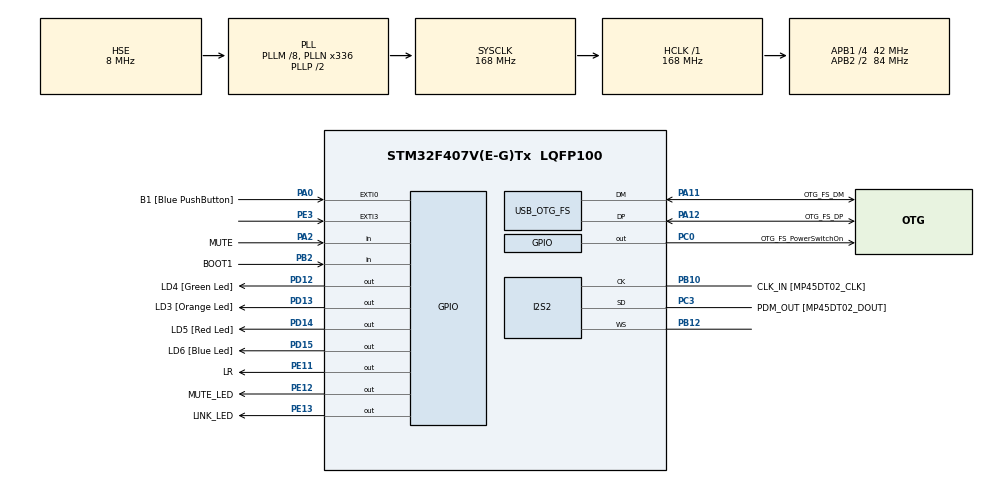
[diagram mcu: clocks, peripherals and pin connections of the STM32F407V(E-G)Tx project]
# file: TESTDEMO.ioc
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Dma.Request0=SPI2_RX
Dma.SPI2_RX.0.Direction=DMA_PERIPH_TO_MEMORY
Dma.SPI2_RX.0.FIFOMode=DMA_FIFOMODE_DISABLE
Dma.SPI2_RX.0.Instance=DMA1_Stream3
Dma.SPI2_RX.0.MemDataAlignment=DMA_MDATAALIGN_WORD
Dma.SPI2_RX.0.MemInc=DMA_MINC_ENABLE
Dma.SPI2_RX.0.Mode=DMA_CIRCULAR
Dma.SPI2_RX.0.PeriphDataAlignment=DMA_PDATAALIGN_WORD
Dma.SPI2_RX.0.PeriphInc=DMA_PINC_DISABLE
Dma.SPI2_RX.0.Priority=DMA_PRIORITY_LOW
I2S2.AudioFreq=I2S_AUDIOFREQ_48K
I2S2.DataFormat=I2S_DATAFORMAT_24B
I2S2.ErrorAudioFreq=0.8 %
I2S2.FullDuplexMode=I2S_FULLDUPLEXMODE_DISABLE
I2S2.Instance=SPI$Index
I2S2.Mode=I2S_MODE_MASTER_RX
I2S2.RealAudioFreq=48.387 KHz
I2S2.VirtualMode=I2S_MODE_MASTER
Mcu.Family=STM32F4
Mcu.Name=STM32F407V(E-G)Tx
Mcu.Package=LQFP100
NVIC.DMA1_Stream3_IRQn=true\:0\:0\:false\:false\:true\:false\:true\:true
NVIC.OTG_FS_IRQn=true\:0\:0\:false\:false\:true\:true\:true\:true
NVIC.PriorityGroup=NVIC_PRIORITYGROUP_4
NVIC.SPI2_IRQn=true\:0\:0\:false\:false\:true\:true\:true\:true
NVIC.TIM3_IRQn=true\:15\:0\:false\:false\:true\:false\:true\:true
NVIC.TimeBase=TIM3_IRQn
NVIC.TimeBaseIP=TIM3
PA0-WKUP.GPIO_Label=B1 [Blue PushButton]
PA0-WKUP.GPIO_ModeDefaultEXTI=GPIO_MODE_EVT_RISING
PA0-WKUP.GPIO_PuPd=GPIO_NOPULL
PA0-WKUP.Signal=GPXTI0
PA11.GPIO_Label=OTG_FS_DM
PA11.GPIO_Mode=GPIO_MODE_AF_PP
PA11.GPIO_PuPd=GPIO_NOPULL
PA11.GPIO_Speed=GPIO_SPEED_FREQ_LOW
PA11.Mode=Device_Only
PA11.Signal=USB_OTG_FS_DM
PA12.GPIO_Label=OTG_FS_DP
PA12.GPIO_Mode=GPIO_MODE_AF_PP
PA12.GPIO_PuPd=GPIO_NOPULL
PA12.GPIO_Speed=GPIO_SPEED_FREQ_LOW
PA12.Mode=Device_Only
PA12.Signal=USB_OTG_FS_DP
PA13.GPIO_Label=SWDIO
PA13.Mode=Serial_Wire
PA13.Signal=SYS_JTMS-SWDIO
PA14.GPIO_Label=SWCLK
PA14.Mode=Serial_Wire
PA14.Signal=SYS_JTCK-SWCLK
PA2.GPIO_Label=MUTE
PA2.GPIO_PuPd=GPIO_PULLUP
PA2.Signal=GPIO_Input
PB10.GPIO_Label=CLK_IN [MP45DT02_CLK]
PB10.GPIO_Mode=GPIO_MODE_AF_PP
PB10.GPIO_PuPd=GPIO_NOPULL
PB10.GPIO_Speed=GPIO_SPEED_FREQ_LOW
PB10.Mode=Half_Duplex_Master
PB10.Signal=I2S2_CK
PB12.Mode=Half_Duplex_Master
PB12.Signal=I2S2_WS
PB2.GPIO_Label=BOOT1
PB2.GPIO_Mode=GPIO_MODE_INPUT
PB2.GPIO_PuPd=GPIO_NOPULL
PB2.Signal=GPIO_Input
PC0.GPIO_Label=OTG_FS_PowerSwitchOn
PC0.GPIO_PuPd=GPIO_NOPULL
PC0.GPIO_Speed=GPIO_SPEED_FREQ_LOW
PC0.PinState=GPIO_PIN_SET
PC0.Signal=GPIO_Output
PC14-OSC32_IN.GPIO_Label=PC14-OSC32_IN
PC14-OSC32_IN.Mode=LSE-External-Oscillator
PC14-OSC32_IN.Signal=RCC_OSC32_IN
PC15-OSC32_OUT.GPIO_Label=PC15-OSC32_OUT
PC15-OSC32_OUT.Mode=LSE-External-Oscillator
PC15-OSC32_OUT.Signal=RCC_OSC32_OUT
PC3.GPIO_Label=PDM_OUT [MP45DT02_DOUT]
PC3.GPIO_Mode=GPIO_MODE_AF_PP
PC3.GPIO_PuPd=GPIO_NOPULL
PC3.GPIO_Speed=GPIO_SPEED_FREQ_LOW
PC3.Mode=Half_Duplex_Master
PC3.Signal=I2S2_SD
PD12.GPIO_Label=LD4 [Green Led]
PD12.GPIO_PuPd=GPIO_NOPULL
PD12.GPIO_Speed=GPIO_SPEED_FREQ_LOW
PD12.Signal=GPIO_Output
PD13.GPIO_Label=LD3 [Orange Led]
PD13.GPIO_PuPd=GPIO_NOPULL
PD13.GPIO_Speed=GPIO_SPEED_FREQ_LOW
PD13.Signal=GPIO_Output
PD14.GPIO_Label=LD5 [Red Led]
PD14.GPIO_PuPd=GPIO_NOPULL
PD14.GPIO_Speed=GPIO_SPEED_FREQ_LOW
PD14.Signal=GPIO_Output
PD15.GPIO_Label=LD6 [Blue Led]
PD15.GPIO_PuPd=GPIO_NOPULL
PD15.GPIO_Speed=GPIO_SPEED_FREQ_LOW
PD15.Signal=GPIO_Output
PE11.GPIO_Label=LR
PE11.Signal=GPIO_Output
PE12.GPIO_Label=MUTE_LED
PE12.Signal=GPIO_Output
PE13.GPIO_Label=LINK_LED
PE13.Signal=GPIO_Output
PE3.Signal=GPXTI3
PH0-OSC_IN.GPIO_Label=PH0-OSC_IN
PH0-OSC_IN.Mode=HSE-External-Oscillator
PH0-OSC_IN.Signal=RCC_OSC_IN
PH1-OSC_OUT.GPIO_Label=PH1-OSC_OUT
PH1-OSC_OUT.Mode=HSE-External-Oscillator
PH1-OSC_OUT.Signal=RCC_OSC_OUT
ProjectManager.HeapSize=0x200
ProjectManager.StackSize=0x400
ProjectManager.TargetToolchain=STM32CubeIDE
RCC.48MHZClocksFreq_Value=48000000
RCC.AHBFreq_Value=168000000
RCC.APB1CLKDivider=RCC_HCLK_DIV4
RCC.APB1Freq_Value=42000000
RCC.APB1TimFreq_Value=84000000
RCC.APB2CLKDivider=RCC_HCLK_DIV2
RCC.APB2Freq_Value=84000000
RCC.APB2TimFreq_Value=168000000
RCC.CortexFreq_Value=168000000
RCC.HCLKFreq_Value=168000000
RCC.HSE_VALUE=8000000
RCC.HSI_VALUE=16000000
RCC.PLLM=8
RCC.PLLN=336
RCC.PLLQ=7
RCC.SYSCLKFreq_VALUE=168000000
RCC.SYSCLKSource=RCC_SYSCLKSOURCE_PLLCLK
RCC.VCOOutputFreq_Value=336000000
USB_DEVICE.CLASS_NAME_FS=AUDIO
USB_DEVICE.MANUFACTURER_STRING-AUDIO_FS=TE
USB_DEVICE.PID_AUDIO_FS=0x5731
USB_DEVICE.USBD_MAX_NUM_INTERFACES-AUDIO_FS=2
USB_DEVICE.VID-AUDIO_FS=0x483
USB_DEVICE.VirtualMode-AUDIO_FS=Audio
USB_DEVICE.VirtualModeFS=Audio_FS
USB_OTG_FS.VirtualMode=Device_Only
VP_SYS_VS_tim3.Mode=TIM3
VP_USB_DEVICE_VS_USB_DEVICE_AUDIO_FS.Mode=AUDIO_FS
board=STM32F407G-DISC1

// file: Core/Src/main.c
/* USER CODE BEGIN Header */
/**
  ******************************************************************************
  * @file           : main.c
  * @brief          : Main program body
  ******************************************************************************
  * @attention
  *
  * Copyright (c) 2025 STMicroelectronics.
  * All rights reserved.
  *
  * This software is licensed under terms that can be found in the LICENSE file
  * in the root directory of this software component.
  * If no LICENSE file comes with this software, it is provided AS-IS.
  *
  ******************************************************************************
  */
/* USER CODE END Header */
#include "main.h"
#include "usb_device.h"

I2S_HandleTypeDef hi2s2;
DMA_HandleTypeDef hdma_spi2_rx;

/* USER CODE BEGIN PV */
extern void myMain();
/* USER CODE END PV */

void SystemClock_Config(void);
static void MX_GPIO_Init(void);
static void MX_DMA_Init(void);
static void MX_I2S2_Init(void);

int main(void)
{

  /* USER CODE BEGIN 1 */
#ifdef SEMIHOSTING
  extern void initialise_monitor_handles(void);
  initialise_monitor_handles();
  setbuf(stdout, NULL);
#endif
  /* USER CODE END 1 */

  /* MCU Configuration--------------------------------------------------------*/

  /* Reset of all peripherals, Initializes the Flash interface and the Systick. */
  HAL_Init();

  /* Configure the system clock */
  SystemClock_Config();

  /* Initialize all configured peripherals */
  MX_GPIO_Init();
  MX_DMA_Init();
  MX_USB_DEVICE_Init();
  MX_I2S2_Init();
  /* USER CODE BEGIN 2 */
  myMain();
  /* USER CODE END 2 */

  /* Infinite loop */
  /* USER CODE BEGIN WHILE */
//  while (1)
//  {
//    /* USER CODE END WHILE */
//
//    /* USER CODE BEGIN 3 */
//  }
  /* USER CODE END 3 */
}

void SystemClock_Config(void)
{
  RCC_OscInitTypeDef RCC_OscInitStruct = {0};
  RCC_ClkInitTypeDef RCC_ClkInitStruct = {0};

  /** Configure the main internal regulator output voltage
  */
  __HAL_RCC_PWR_CLK_ENABLE();
  __HAL_PWR_VOLTAGESCALING_CONFIG(PWR_REGULATOR_VOLTAGE_SCALE1);

  /** Initializes the RCC Oscillators according to the specified parameters
  * in the RCC_OscInitTypeDef structure.
  */
  RCC_OscInitStruct.OscillatorType = RCC_OSCILLATORTYPE_HSE;
  RCC_OscInitStruct.HSEState = RCC_HSE_ON;
  RCC_OscInitStruct.PLL.PLLState = RCC_PLL_ON;
  RCC_OscInitStruct.PLL.PLLSource = RCC_PLLSOURCE_HSE;
  RCC_OscInitStruct.PLL.PLLM = 8;
  RCC_OscInitStruct.PLL.PLLN = 336;
  RCC_OscInitStruct.PLL.PLLP = RCC_PLLP_DIV2;
  RCC_OscInitStruct.PLL.PLLQ = 7;
  if (HAL_RCC_OscConfig(&RCC_OscInitStruct) != HAL_OK)
  {
    Error_Handler();
  }

  /** Initializes the CPU, AHB and APB buses clocks
  */
  RCC_ClkInitStruct.ClockType = RCC_CLOCKTYPE_HCLK|RCC_CLOCKTYPE_SYSCLK
                              |RCC_CLOCKTYPE_PCLK1|RCC_CLOCKTYPE_PCLK2;
  RCC_ClkInitStruct.SYSCLKSource = RCC_SYSCLKSOURCE_PLLCLK;
  RCC_ClkInitStruct.AHBCLKDivider = RCC_SYSCLK_DIV1;
  RCC_ClkInitStruct.APB1CLKDivider = RCC_HCLK_DIV4;
  RCC_ClkInitStruct.APB2CLKDivider = RCC_HCLK_DIV2;

  if (HAL_RCC_ClockConfig(&RCC_ClkInitStruct, FLASH_LATENCY_5) != HAL_OK)
  {
    Error_Handler();
  }
}

static void MX_I2S2_Init(void)
{

  hi2s2.Instance = SPI2;
  hi2s2.Init.Mode = I2S_MODE_MASTER_RX;
  hi2s2.Init.Standard = I2S_STANDARD_PHILIPS;
  hi2s2.Init.DataFormat = I2S_DATAFORMAT_24B;
  hi2s2.Init.MCLKOutput = I2S_MCLKOUTPUT_DISABLE;
  hi2s2.Init.AudioFreq = I2S_AUDIOFREQ_48K;
  hi2s2.Init.CPOL = I2S_CPOL_LOW;
  hi2s2.Init.ClockSource = I2S_CLOCK_PLL;
  hi2s2.Init.FullDuplexMode = I2S_FULLDUPLEXMODE_DISABLE;
  if (HAL_I2S_Init(&hi2s2) != HAL_OK)
  {
    Error_Handler();
  }

}

static void MX_DMA_Init(void)
{

  /* DMA controller clock enable */
  __HAL_RCC_DMA1_CLK_ENABLE();

  /* DMA interrupt init */
  /* DMA1_Stream3_IRQn interrupt configuration */
  HAL_NVIC_SetPriority(DMA1_Stream3_IRQn, 0, 0);
  HAL_NVIC_EnableIRQ(DMA1_Stream3_IRQn);

}

static void MX_GPIO_Init(void)
{
  GPIO_InitTypeDef GPIO_InitStruct = {0};

  /* GPIO Ports Clock Enable */
  __HAL_RCC_GPIOE_CLK_ENABLE();
  __HAL_RCC_GPIOC_CLK_ENABLE();
  __HAL_RCC_GPIOH_CLK_ENABLE();
  __HAL_RCC_GPIOA_CLK_ENABLE();
  __HAL_RCC_GPIOB_CLK_ENABLE();
  __HAL_RCC_GPIOD_CLK_ENABLE();

  /*Configure GPIO pin Output Level */
  HAL_GPIO_WritePin(OTG_FS_PowerSwitchOn_GPIO_Port, OTG_FS_PowerSwitchOn_Pin, GPIO_PIN_SET);

  /*Configure GPIO pin Output Level */
  HAL_GPIO_WritePin(GPIOE, LR_Pin|MUTE_LED_Pin|LINK_LED_Pin, GPIO_PIN_RESET);

  /*Configure GPIO pin Output Level */
  HAL_GPIO_WritePin(GPIOD, LD4_Pin|LD3_Pin|LD5_Pin|LD6_Pin, GPIO_PIN_RESET);

  /*Configure GPIO pin : PE3 */
  GPIO_InitStruct.Pin = GPIO_PIN_3;
  GPIO_InitStruct.Mode = GPIO_MODE_IT_RISING;
  GPIO_InitStruct.Pull = GPIO_NOPULL;
  HAL_GPIO_Init(GPIOE, &GPIO_InitStruct);

  /*Configure GPIO pin : OTG_FS_PowerSwitchOn_Pin */
  GPIO_InitStruct.Pin = OTG_FS_PowerSwitchOn_Pin;
  GPIO_InitStruct.Mode = GPIO_MODE_OUTPUT_PP;
  GPIO_InitStruct.Pull = GPIO_NOPULL;
  GPIO_InitStruct.Speed = GPIO_SPEED_FREQ_LOW;
  HAL_GPIO_Init(OTG_FS_PowerSwitchOn_GPIO_Port, &GPIO_InitStruct);

  /*Configure GPIO pin : B1_Pin */
  GPIO_InitStruct.Pin = B1_Pin;
  GPIO_InitStruct.Mode = GPIO_MODE_EVT_RISING;
  GPIO_InitStruct.Pull = GPIO_NOPULL;
  HAL_GPIO_Init(B1_GPIO_Port, &GPIO_InitStruct);

  /*Configure GPIO pin : MUTE_Pin */
  GPIO_InitStruct.Pin = MUTE_Pin;
  GPIO_InitStruct.Mode = GPIO_MODE_INPUT;
  GPIO_InitStruct.Pull = GPIO_PULLUP;
  HAL_GPIO_Init(MUTE_GPIO_Port, &GPIO_InitStruct);

  /*Configure GPIO pin : BOOT1_Pin */
  GPIO_InitStruct.Pin = BOOT1_Pin;
  GPIO_InitStruct.Mode = GPIO_MODE_INPUT;
  GPIO_InitStruct.Pull = GPIO_NOPULL;
  HAL_GPIO_Init(BOOT1_GPIO_Port, &GPIO_InitStruct);

  /*Configure GPIO pins : LR_Pin MUTE_LED_Pin LINK_LED_Pin */
  GPIO_InitStruct.Pin = LR_Pin|MUTE_LED_Pin|LINK_LED_Pin;
  GPIO_InitStruct.Mode = GPIO_MODE_OUTPUT_PP;
  GPIO_InitStruct.Pull = GPIO_NOPULL;
  GPIO_InitStruct.Speed = GPIO_SPEED_FREQ_LOW;
  HAL_GPIO_Init(GPIOE, &GPIO_InitStruct);

  /*Configure GPIO pins : LD4_Pin LD3_Pin LD5_Pin LD6_Pin */
  GPIO_InitStruct.Pin = LD4_Pin|LD3_Pin|LD5_Pin|LD6_Pin;
  GPIO_InitStruct.Mode = GPIO_MODE_OUTPUT_PP;
  GPIO_InitStruct.Pull = GPIO_NOPULL;
  GPIO_InitStruct.Speed = GPIO_SPEED_FREQ_LOW;
  HAL_GPIO_Init(GPIOD, &GPIO_InitStruct);

}

/* USER CODE BEGIN 4 */
__attribute__((optimize("O0"))) void Error_Handler() {

  __disable_irq();

  /* Flash the LINK LED at 1Hz if there's a fatal error */

  for (;;) {
    HAL_GPIO_WritePin(LD3_GPIO_Port, LD3_Pin, GPIO_PIN_SET);
    for (uint32_t i = 0; i < 1000000; i++)
      ;
    HAL_GPIO_WritePin(LD3_GPIO_Port, LD3_Pin, GPIO_PIN_RESET);
    for (uint32_t i = 0; i < 1000000; i++)
      ;
  }
}
void HAL_I2S_ErrorCallback(I2S_HandleTypeDef *hi2s) {
  Error_Handler();
}
/* USER CODE END 4 */

void HAL_TIM_PeriodElapsedCallback(TIM_HandleTypeDef *htim)
{
  if (htim->Instance == TIM3)
  {
    HAL_IncTick();
  }
}

//void Error_Handler(void)
//{
//  /* USER CODE BEGIN Error_Handler_Debug */
//  /* User can add his own implementation to report the HAL error return state */
//  __disable_irq();
//  while (1)
//  {
//  }
//  /* USER CODE END Error_Handler_Debug */
//}
